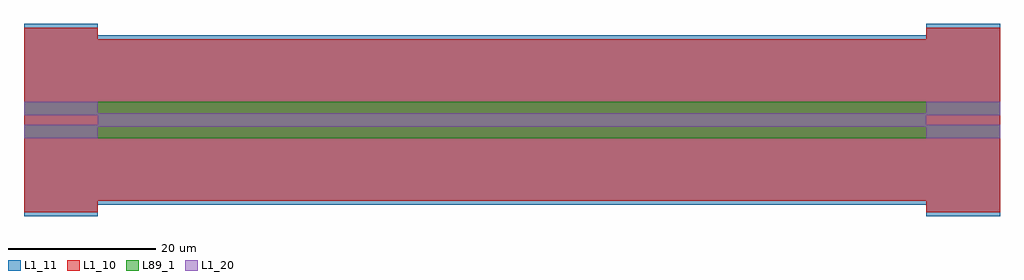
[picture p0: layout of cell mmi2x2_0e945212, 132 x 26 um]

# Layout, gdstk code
import gdstk
lib = gdstk.Library(unit=1e-6, precision=1e-09)
def R(c, l, rs):  # rectangles x0, y0, x1, y1
    for r in rs: c.add(gdstk.rectangle(r[:2], r[2:], *l))
L1_10 = (1, 10)
L1_11 = (1, 11)
L1_20 = (1, 20)
L89_1 = (89, 1)

mmi2x2_0e945212 = lib.new_cell('mmi2x2_0e945212')
R(mmi2x2_0e945212, L1_10, [(-10,-12.5,0,9.375), (112,-12.5,122,9.375), (0,-10.938,112,10.938), (-10,-9.375,0,12.5), (112,-9.375,122,12.5)])
R(mmi2x2_0e945212, L1_11, [(-10,-13,0,9.875), (112,-13,122,9.875), (0,-11.438,112,11.438), (-10,-9.875,0,13), (112,-9.875,122,13)])
R(mmi2x2_0e945212, L1_20, [(-10,-2.5,0,-0.625), (112,-2.5,122,-0.625), (0,-0.938,112,0.938), (-10,0.625,0,2.5), (112,0.625,122,2.5)])
R(mmi2x2_0e945212, L89_1, [(-10,-2.5,0,-0.625), (0,-2.5,112,2.5), (112,-2.5,122,-0.625), (-10,0.625,0,2.5), (112,0.625,122,2.5)])

lib.write_gds('mmi2x2_0e945212.gds')
